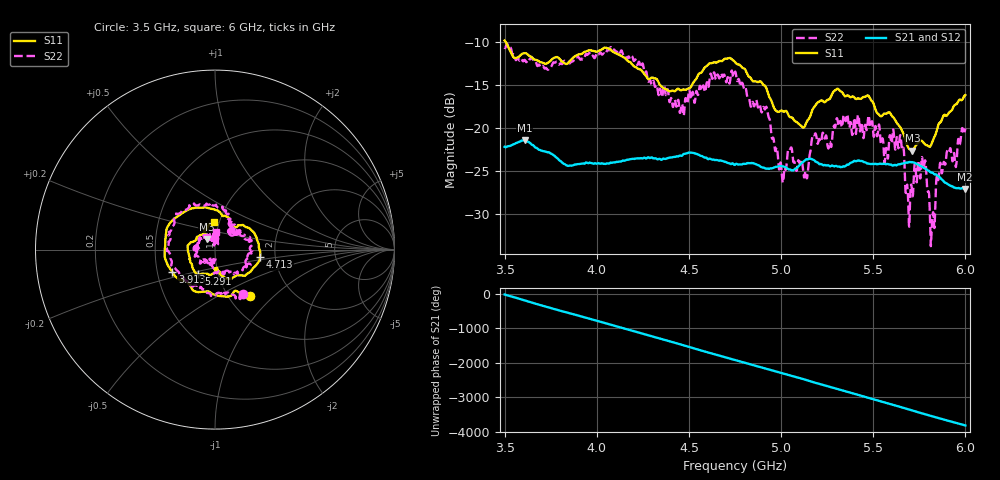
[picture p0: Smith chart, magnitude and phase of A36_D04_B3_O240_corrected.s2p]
! Created with skrf 1.9.0 (http://scikit-rf.org).
# Hz S RI R 50.0
!freq ReS11 ImS11 ReS21 ImS21 ReS12 ImS12 ReS22 ImS22
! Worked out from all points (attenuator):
!   1601 points, 3.5 GHz to 6 GHz, reference 50 ohm
!   highest |S21| = -21.43 dB at 3.609 GHz (marker M1); lowest = -27.1 dB at 5.997 GHz (marker M2)
!   lowest |S11| = -22.6 dB at 5.713 GHz (marker M3), VSWR 1.16, Z = 45.4 + j5.35 ohm
!   |S11| at or under -10 dB: 3.506 GHz to end of sweep
!   |S22| runs from -33.7 to -10.2 dB; largest |S21 - S12| = 0.001
!   S11 on the Smith chart (normalised r, x): 3.5 GHz: 1.25, -0.72; 3.913 GHz: 0.60, -0.16; 4.713 GHz: 1.66, -0.15; 5.291 GHz: 0.80, -0.23; 6 GHz: 0.95, +0.30
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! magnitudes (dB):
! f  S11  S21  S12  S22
! 3.5 GHz  -9.8  -22.2  -22.2  -10.6
! 3.609 GHz  -11.3  -21.4  -21.4  -12.1
! 3.913 GHz  -11.4  -24.2  -24.1  -12.1
! 3.917 GHz  -11.4  -24.2  -24.1  -12.0
! 4.125 GHz  -11.5  -23.9  -23.9  -11.2
! 4.334 GHz  -14.7  -23.6  -23.5  -16.1
! 4.713 GHz  -11.9  -24.1  -24.0  -14.1
! 4.75 GHz  -12.3  -24.3  -24.2  -13.5
! 4.925 GHz  -15.7  -24.7  -24.7  -17.9
! 5.002 GHz  -18.0  -24.4  -24.4  -24.7
! 5.134 GHz  -19.5  -23.7  -23.6  -25.2
! 5.167 GHz  -18.0  -23.6  -23.6  -21.3
! 5.291 GHz  -15.7  -24.5  -24.4  -19.9
! 5.584 GHz  -18.2  -24.2  -24.2  -22.1
! 5.653 GHz  -20.2  -24.1  -24.1  -22.0
! 5.686 GHz  -22.1  -24.0  -24.0  -27.1
! 5.713 GHz  -22.6  -24.0  -23.9  -27.8
! 5.775 GHz  -21.8  -24.6  -24.6  -24.6
! 5.822 GHz  -21.5  -25.2  -25.1  -30.1
! 5.855 GHz  -19.6  -25.6  -25.6  -25.9
! 5.997 GHz  -16.2  -27.1  -27.0  -20.4
! 6 GHz  -16.2  -27.1  -27.0  -20.1
